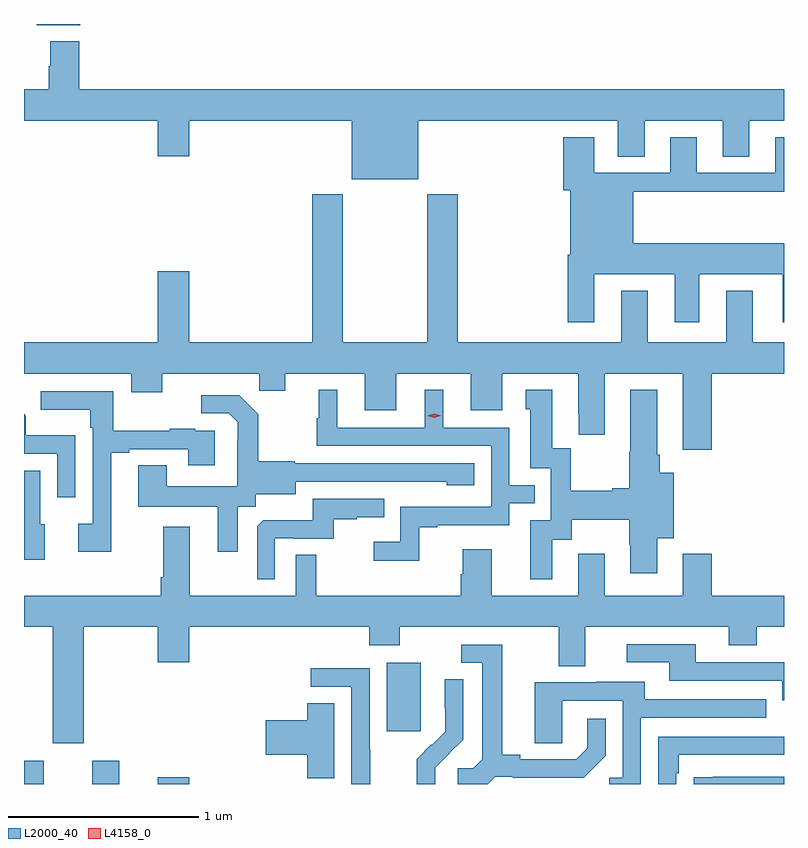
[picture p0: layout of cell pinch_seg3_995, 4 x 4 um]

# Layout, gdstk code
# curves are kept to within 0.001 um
import gdstk
lib = gdstk.Library(unit=1e-6, precision=1e-09)
def R(c, l, rs):  # rectangles x0, y0, x1, y1
    for r in rs: c.add(gdstk.rectangle(r[:2], r[2:], *l))
def P(c, l, *ps):  # polygons
    for p in ps: c.add(gdstk.Polygon(p, *l))
L2000_40 = (2000, 40)
L4158_0 = (4158, 0)

pinch_seg3_995 = lib.new_cell('pinch_seg3_995')
R(pinch_seg3_995, L2000_40, [(404.063,666.788,404.167,666.91), (404.423,666.788,404.563,666.91), (404.768,666.788,404.932,666.823), (405.971,667.065,406.15,667.426), (404.129,670.781,404.358,670.788)])
P(pinch_seg3_995, L2000_40, [(406.138,670.28),(407.189,670.28),(407.189,670.09),(407.329,670.09),(407.329,670.28),(407.741,670.28),(407.741,670.09),(407.881,670.09),(407.881,670.28),(408.063,670.28),(408.063,670.444),(404.354,670.444),(404.354,670.696),(404.201,670.696),(404.201,670.565),(404.194,670.565),(404.194,670.444),(404.063,670.444),(404.063,670.28),(404.768,670.28),(404.768,670.092),(404.932,670.092),(404.932,670.28),(405.788,670.28),(405.788,669.971),(406.138,669.971)],
  [(407.065,669.47),(407.489,669.47),(407.489,669.219),(407.617,669.219),(407.617,669.47),(408.056,669.47),(408.056,669.219),(408.063,669.219),(408.063,669.634),(407.269,669.634),(407.269,669.904),(408.063,669.904),(408.063,670.192),(408.017,670.192),(408.017,670.005),(407.605,670.005),(407.605,670.192),(407.465,670.192),(407.465,670.005),(407.065,670.005),(407.065,670.192),(406.901,670.192),(406.901,669.912),(406.937,669.912),(406.937,669.574),(406.925,669.574),(406.925,669.219),(407.065,669.219)],
  [(407.684,668.948),(408.063,668.948),(408.063,669.112),(407.899,669.112),(407.899,669.385),(407.759,669.385),(407.759,669.112),(407.347,669.112),(407.347,669.385),(407.207,669.385),(407.207,669.112),(406.346,669.112),(406.346,669.892),(406.186,669.892),(406.186,669.112),(405.741,669.112),(405.741,669.892),(405.581,669.892),(405.581,669.112),(404.932,669.112),(404.932,669.487),(404.768,669.487),(404.768,669.112),(404.063,669.112),(404.063,668.948),(404.627,668.948),(404.627,668.849),(404.791,668.849),(404.791,668.948),(405.301,668.948),(405.301,668.858),(405.439,668.858),(405.439,668.948),(405.857,668.948),(405.857,668.754),(406.021,668.754),(406.021,668.948),(406.415,668.948),(406.415,668.754),(406.579,668.754),(406.579,668.948),(406.979,668.948),(406.979,668.737),(406.982,668.737),(406.982,668.625),(407.119,668.625),(407.119,668.948),(407.531,668.948),(407.531,668.547),(407.684,668.547)],
  [(406.143,668.139),(406.237,668.139),(406.237,668.151),(406.617,668.151),(406.617,668.265),(406.751,668.265),(406.751,668.361),(406.617,668.361),(406.617,668.664),(406.27,668.664),(406.27,668.863),(406.172,668.863),(406.172,668.664),(405.712,668.664),(405.712,668.863),(405.614,668.863),(405.614,668.712),(405.603,668.712),(405.603,668.568),(406.521,668.568),(406.521,668.247),(406.044,668.247),(406.044,668.062),(405.903,668.062),(405.903,667.964),(406.143,667.964)],
  [(406.843,668.074),(406.945,668.074),(406.945,668.18),(407.248,668.18),(407.248,668.046),(407.255,668.046),(407.255,667.896),(407.395,667.896),(407.395,668.081),(407.482,668.081),(407.482,668.425),(407.408,668.425),(407.408,668.521),(407.395,668.521),(407.395,668.863),(407.255,668.863),(407.255,668.537),(407.248,668.537),(407.248,668.345),(407.159,668.345),(407.159,668.332),(406.941,668.332),(406.941,668.555),(406.843,668.555),(406.843,668.863),(406.703,668.863),(406.703,668.76),(406.727,668.76),(406.727,668.451),(406.836,668.451),(406.836,668.175),(406.727,668.175),(406.727,667.866),(406.843,667.866)],
  [(404.521,668.532),(404.617,668.532),(404.617,668.55),(404.927,668.55),(404.927,668.466),(405.067,668.466),(405.067,668.646),(404.963,668.646),(404.963,668.659),(404.831,668.659),(404.831,668.648),(404.533,668.648),(404.533,668.856),(404.151,668.856),(404.151,668.759),(404.412,668.759),(404.412,668.663),(404.424,668.663),(404.424,668.158),(404.349,668.158),(404.349,668.01),(404.521,668.01)],
  [(405.187,668.248),(405.282,668.248),(405.282,668.312),(405.493,668.312),(405.493,668.379),(406.287,668.378),(406.287,668.36),(406.432,668.36),(406.432,668.475),(405.489,668.475),(405.489,668.488),(405.297,668.488),(405.297,668.733),(405.197,668.833),(404.997,668.833),(404.997,668.739),(405.141,668.739),(405.188,668.692),(405.188,668.597),(405.186,668.597),(405.186,668.356),(404.815,668.356),(404.815,668.465),(404.663,668.465),(404.663,668.246),(405.083,668.246),(405.083,668.01),(405.187,668.01)],
  [(404.334,668.623),(404.073,668.623),(404.073,668.726),(404.063,668.736),(404.063,668.526),(404.238,668.526),(404.238,668.298),(404.334,668.298)],
  [(404.173,668.154),(404.148,668.154),(404.148,668.436),(404.063,668.436),(404.063,667.967),(404.173,667.967)],
  [(405.384,668.082),(405.484,668.082),(405.484,668.079),(405.692,668.079),(405.692,668.181),(405.815,668.181),(405.815,668.192),(405.959,668.192),(405.959,668.289),(405.582,668.289),(405.582,668.177),(405.323,668.177),(405.291,668.145),(405.291,667.865),(405.384,667.865)],
  [(404.932,667.616),(405.881,667.616),(405.881,667.517),(406.041,667.517),(406.041,667.616),(406.877,667.616),(406.877,667.408),(407.017,667.408),(407.017,667.616),(407.771,667.616),(407.771,667.517),(407.919,667.517),(407.919,667.616),(408.063,667.616),(408.063,667.78),(407.684,667.78),(407.684,667.999),(407.531,667.999),(407.531,667.78),(407.119,667.78),(407.119,667.999),(406.979,667.999),(406.979,667.78),(406.525,667.78),(406.525,668.023),(406.373,668.023),(406.373,667.893),(406.361,667.893),(406.361,667.78),(405.601,667.78),(405.601,667.994),(405.492,667.994),(405.492,667.78),(404.935,667.78),(404.935,668.143),(404.795,668.143),(404.795,667.876),(404.783,667.876),(404.783,667.78),(404.063,667.78),(404.063,667.616),(404.213,667.616),(404.213,667.002),(404.377,667.002),(404.377,667.616),(404.768,667.616),(404.768,667.428),(404.932,667.428)],
  [(408.063,667.428),(407.599,667.428),(407.599,667.524),(407.235,667.524),(407.235,667.428),(407.459,667.428),(407.459,667.332),(408.054,667.332),(408.054,667.229),(408.063,667.229)],
  [(406.542,666.825),(406.636,666.825),(406.636,666.822),(407.008,666.822),(407.124,666.938),(407.124,667.132),(407.027,667.132),(407.027,666.975),(406.97,666.918),(406.675,666.918),(406.675,666.941),(406.579,666.941),(406.579,667.521),(406.365,667.521),(406.365,667.425),(406.475,667.425),(406.475,666.917),(406.428,666.87),(406.347,666.87),(406.347,666.788),(406.505,666.788)],
  [(405.885,666.968),(405.882,666.968),(405.882,667.398),(405.573,667.398),(405.573,667.299),(405.786,667.299),(405.786,666.788),(405.885,666.788)],
  [(406.228,666.874),(406.374,667.022),(406.374,667.34),(406.278,667.34),(406.278,667.186),(406.28,667.186),(406.28,667.064),(406.209,666.993),(406.206,666.996),(406.129,666.919),(406.129,666.788),(406.228,666.788)],
  [(407.31,667.137),(407.969,667.137),(407.969,667.233),(407.329,667.233),(407.329,667.327),(407.075,667.327),(407.075,667.323),(406.751,667.323),(406.751,667.003),(406.896,667.003),(406.896,667.227),(407.214,667.227),(407.214,666.822),(407.142,666.822),(407.142,666.788),(407.31,666.788)],
  [(405.697,667.214),(405.554,667.214),(405.554,667.124),(405.336,667.124),(405.336,666.941),(405.554,666.941),(405.554,666.817),(405.697,666.817)],
  [(407.496,666.845),(407.509,666.845),(407.509,666.942),(408.063,666.942),(408.063,667.038),(407.4,667.038),(407.4,666.788),(407.496,666.788)],
  [(408.063,666.825),(407.689,666.825),(407.689,666.824),(407.587,666.824),(407.587,666.788),(408.063,666.788)])
P(pinch_seg3_995, L4158_0, [(406.221,668.716),(406.186,668.725),(406.185,668.726),(406.186,668.726),(406.221,668.736),(406.256,668.726),(406.257,668.726),(406.256,668.725)])

lib.write_gds('pinch_seg3_995.gds')
